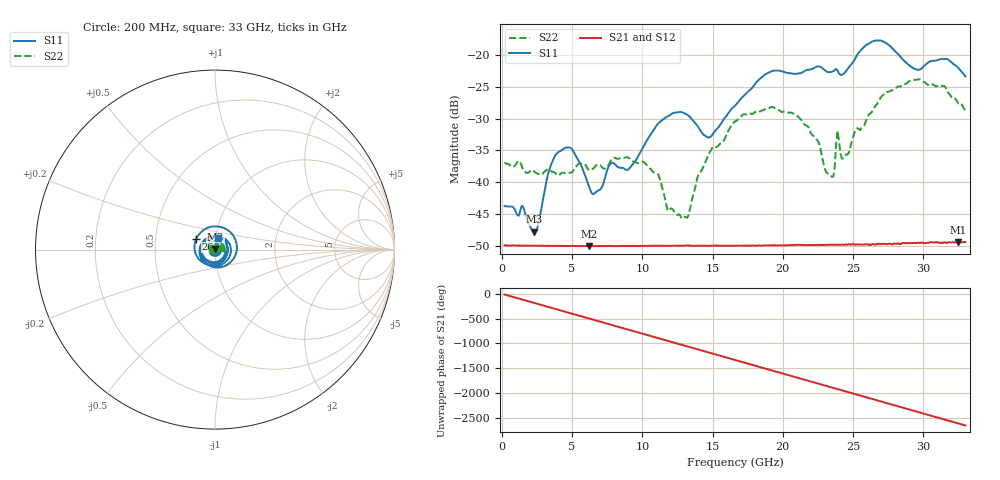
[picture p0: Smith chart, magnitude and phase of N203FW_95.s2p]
# GHZ S RI R 50
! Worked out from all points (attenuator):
!   329 points, 200 MHz to 33 GHz, reference 50 ohm
!   highest |S21| = -49.42 dB at 32.5 GHz (marker M1); lowest = -50.1 dB at 6.2 GHz (marker M2)
!   lowest |S11| = -47.8 dB at 2.3 GHz (marker M3), VSWR 1.01, Z = 50.2 + j0.362 ohm
!   |S11| at or under -10 dB: start of sweep to end of sweep
!   |S22| runs from -45.7 to -23.8 dB; largest |S21 - S12| = 8.8e-05
!   S11 on the Smith chart (normalised r, x): 200 MHz: 1.01, +0.00; 26 GHz: 0.80, +0.10; 33 GHz: 1.03, +0.13
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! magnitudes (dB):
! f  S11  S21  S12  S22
! 200 MHz  -43.8  -50.0  -49.9  -36.9
! 1.5 GHz  -43.8  -50.0  -50.0  -38.0
! 2.3 GHz  -47.8  -50.0  -50.0  -38.3
! 3.9 GHz  -35.5  -50.0  -50.0  -38.8
! 5.7 GHz  -37.6  -50.1  -50.1  -37.2
! 6.2 GHz  -40.7  -50.1  -50.1  -38.1
! 9 GHz  -38.0  -50.1  -50.0  -36.1
! 11.2 GHz  -30.6  -50.0  -50.0  -39.2
! 11.8 GHz  -29.7  -50.0  -50.0  -44.4
! 13.2 GHz  -29.4  -50.0  -50.0  -45.6
! 14.8 GHz  -33.0  -50.0  -50.0  -35.3
! 16.6 GHz  -28.0  -50.0  -50.0  -30.5
! 19.3 GHz  -22.5  -49.9  -49.9  -28.2
! 22.1 GHz  -22.2  -49.9  -49.9  -32.6
! 23.6 GHz  -22.5  -49.9  -49.9  -39.1
! 23.9 GHz  -22.5  -49.9  -49.9  -31.9
! 24.3 GHz  -23.0  -49.8  -49.8  -36.3
! 26 GHz  -18.4  -49.8  -49.8  -29.8
! 27.6 GHz  -18.5  -49.7  -49.7  -25.7
! 29.7 GHz  -22.3  -49.6  -49.6  -23.8
! 32.5 GHz  -22.0  -49.4  -49.4  -27.6
! 33 GHz  -23.4  -49.4  -49.5  -28.7
